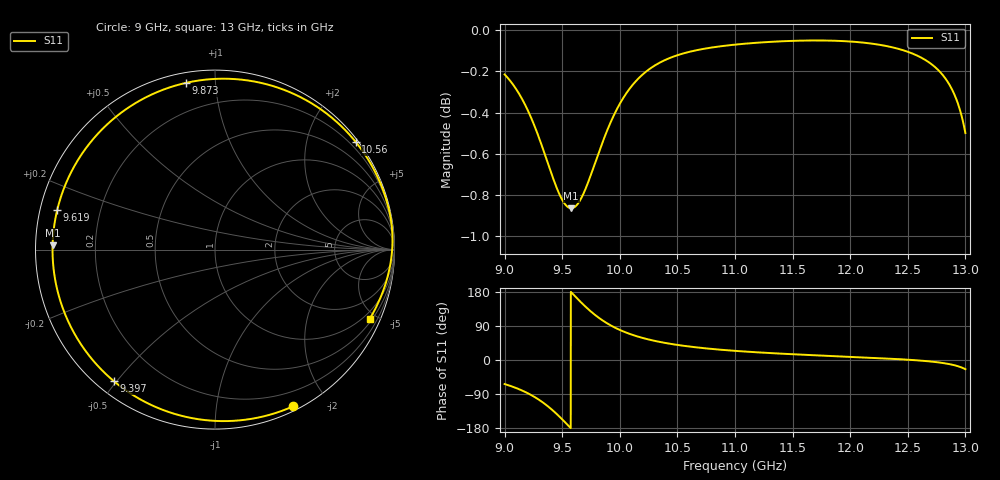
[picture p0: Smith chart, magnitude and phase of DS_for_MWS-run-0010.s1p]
! TOUCHSTONE file generated by CST DESIGN STUDIO
! Date and time: Tue Feb  4 16:46:09 2025
! Project name: C:\Work\MatlabApps\UnitCellOptimizationMatlab\CST\unitcell.cst
! Tree item: Tasks\Sweep1\SPara1\S-Parameters
! Header version: 2024
! Port assignment regex: !\s*Touchstone port\s*([0-9]+)\s*=\s*(CST MWS port|CST DES external port|CST DES block port)\s*(.+)\s* \(\"(.*)\"\)(\s*mode\s*([0-9]+))?.*
! Touchstone port assignment:
! Touchstone port 1 = CST DES external port 1 ("")
# GHz S MA R 50
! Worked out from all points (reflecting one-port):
!   4001 points, 9 GHz to 13 GHz, reference 50 ohm
!   lowest |S11| = -0.9 dB at 9.579 GHz (marker M1), VSWR 20.10, Z = 2.49 + j0.631 ohm
!   phase of S11 starts at -63 deg and turns -321 deg over the sweep
!   S11 on the Smith chart (normalised r, x): 9 GHz: 0.04, -1.62; 9.397 GHz: 0.05, -0.49; 9.619 GHz: 0.05, +0.12; 9.873 GHz: 0.05, +0.84; 10.56 GHz: 0.06, +2.95; 13 GHz: 0.64, -4.57
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9  0.9756 -63.5
9.12  0.9657 -76.4
9.241  0.9507 -94.2
9.323  0.9375 -110.1
9.397  0.9246 -127.5
9.447  0.9164 -141.0
9.5  0.9095 -156.6
9.54  0.9063 -169.0
9.579  0.9052 178.6
9.619  0.9064 165.9
9.685  0.9127 145.7
9.745  0.9217 129.0
9.806  0.9319 114.0
9.873  0.9429 100.0
10  0.9597 79.3
10.102  0.9692 67.1
10.216  0.9765 56.7
10.346  0.982 47.8
10.5  0.9862 39.8
10.556  0.9872 37.4
11  0.992 24.1
11.5  0.9941 15.2
12  0.9938 8.4
12.5  0.9881 0.8
12.679  0.9824 -3.4
12.812  0.9746 -8.3
12.91  0.9639 -14.2
13  0.9441 -24.2
